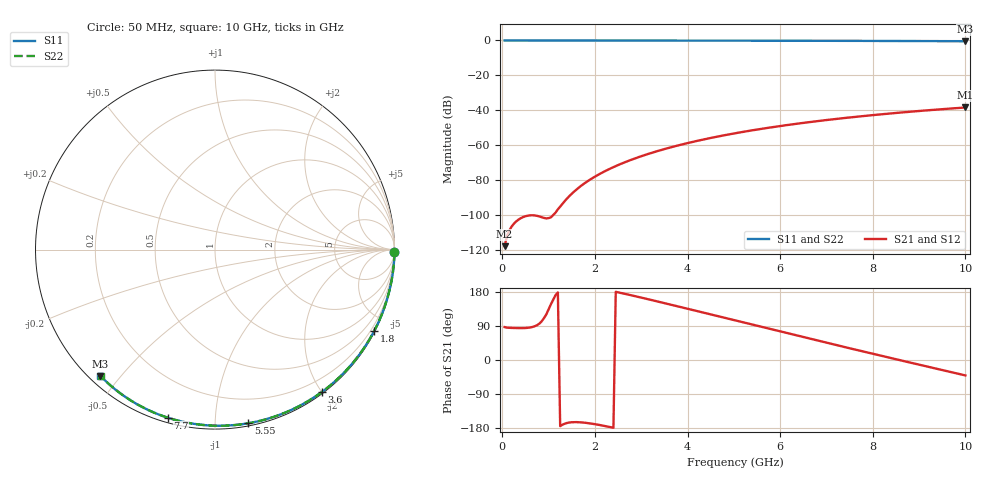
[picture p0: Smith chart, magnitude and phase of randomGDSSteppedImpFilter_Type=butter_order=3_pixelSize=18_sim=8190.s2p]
! freq	dB(S11)	phase(S11)	dB(S12)	phase(S12)
!  dB(S21)	phase(S21)	dB(S22)	phase(S22)
!S-par simulation data
#  GHz  S  DB  R 50
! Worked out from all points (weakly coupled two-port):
!   200 points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, 50 MHz to 10 GHz, reference 50 ohm
!   highest |S21| = -38.37 dB at 10 GHz (marker M1); lowest = -117.7 dB at 50 MHz (marker M2)
!   lowest |S11| = -0.4 dB at 10 GHz (marker M3), VSWR 39.12, Z = 1.53 - j22.1 ohm
!   |S11| at or under -10 dB: nowhere
!   |S22| runs from -0.4 to 0.0 dB; largest |S21 - S12| = 0
!   S11 on the Smith chart (normalised r, x): 50 MHz: open; 1.8 GHz: 0.04, -4.15; 3.6 GHz: 0.02, -2.01; 5.55 GHz: 0.02, -1.21; 7.7 GHz: 0.02, -0.76; 10 GHz: 0.03, -0.44
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0.05  -0.00 -0.8  -117.73 86.8  -117.73 86.8  -0.00 -0.8
0.9  -0.02 -13.7  -101.57 110.5  -101.57 110.5  -0.02 -13.7
1.75  -0.03 -26.4  -82.24 -165.1  -82.24 -165.1  -0.03 -26.4
1.8  -0.03 -27.1  -81.30 -165.8  -81.30 -165.8  -0.03 -27.1
1.85  -0.04 -27.9  -80.41 -166.6  -80.41 -166.6  -0.04 -27.8
1.9  -0.04 -28.6  -79.56 -167.4  -79.56 -167.4  -0.04 -28.6
2.05  -0.04 -30.8  -77.18 -170.4  -77.18 -170.4  -0.04 -30.8
2.25  -0.04 -33.7  -74.37 -175.0  -74.37 -175.0  -0.04 -33.7
2.45  -0.05 -36.6  -71.89 179.9  -71.89 179.9  -0.05 -36.6
2.65  -0.05 -39.5  -69.67 174.5  -69.67 174.5  -0.05 -39.5
3  -0.06 -44.5  -66.26 164.7  -66.26 164.7  -0.06 -44.5
3.4  -0.07 -50.2  -62.93 153.1  -62.93 153.1  -0.07 -50.2
3.6  -0.07 -53.0  -61.44 147.2  -61.44 147.2  -0.07 -53.0
4.3  -0.09 -62.6  -56.93 126.3  -56.93 126.3  -0.09 -62.6
5.05  -0.11 -72.7  -53.01 103.7  -53.01 103.7  -0.11 -72.6
5.55  -0.13 -79.2  -50.78 88.7  -50.78 88.7  -0.13 -79.1
6.1  -0.15 -86.2  -48.60 72.3  -48.60 72.3  -0.15 -86.1
6.7  -0.18 -93.6  -46.51 54.5  -46.51 54.5  -0.18 -93.6
7.7  -0.24 -105.7  -43.52 25.2  -43.52 25.2  -0.24 -105.6
8.35  -0.29 -113.3  -41.85 6.3  -41.85 6.3  -0.29 -113.3
9.15  -0.36 -122.5  -40.04 -16.6  -40.04 -16.6  -0.36 -122.5
10  -0.44 -132.2  -38.37 -40.7  -38.37 -40.7  -0.44 -132.1
